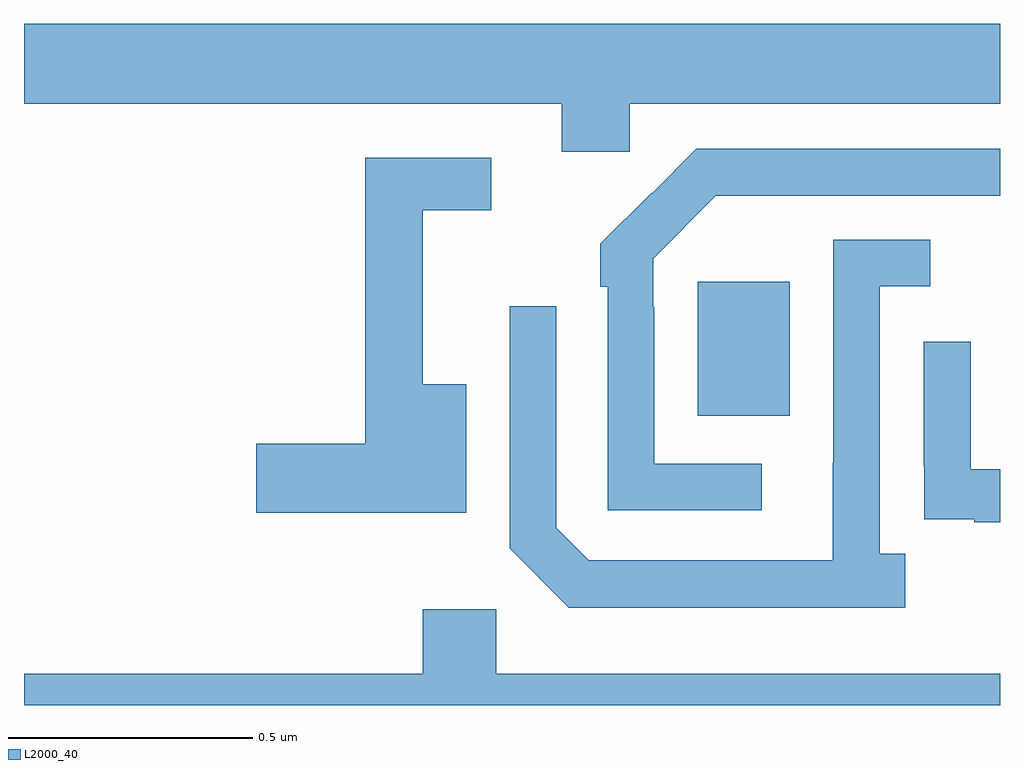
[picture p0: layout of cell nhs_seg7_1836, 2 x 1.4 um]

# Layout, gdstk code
import gdstk
lib = gdstk.Library(unit=1e-6, precision=1e-09)
def R(c, l, rs):  # rectangles x0, y0, x1, y1
    for r in rs: c.add(gdstk.rectangle(r[:2], r[2:], *l))
def P(c, l, *ps):  # polygons
    for p in ps: c.add(gdstk.Polygon(p, *l))
L2000_40 = (2000, 40)

nhs_seg7_1836 = lib.new_cell('nhs_seg7_1836')
R(nhs_seg7_1836, L2000_40, [(137.381,1050.593,137.569,1050.868)])
P(nhs_seg7_1836, L2000_40, [(137.241,1051.232),(138,1051.232),(138,1051.396),(136,1051.396),(136,1051.232),(137.102,1051.232),(137.102,1051.134),(137.241,1051.134)],
  [(137.512,1050.495),(137.292,1050.495),(137.292,1050.815),(137.289,1050.815),(137.289,1050.915),(137.418,1051.044),(138,1051.044),(138,1051.14),(137.378,1051.14),(137.287,1051.049),(137.286,1051.05),(137.181,1050.945),(137.181,1050.857),(137.196,1050.857),(137.196,1050.399),(137.512,1050.399)],
  [(136.906,1050.658),(136.817,1050.658),(136.817,1051.014),(136.957,1051.014),(136.957,1051.122),(136.699,1051.122),(136.699,1050.536),(136.476,1050.536),(136.476,1050.394),(136.906,1050.394)],
  [(137.806,1050.31),(137.754,1050.31),(137.754,1050.858),(137.857,1050.858),(137.857,1050.954),(137.658,1050.954),(137.658,1050.497),(137.657,1050.497),(137.657,1050.297),(137.157,1050.297),(137.091,1050.363),(137.091,1050.817),(136.995,1050.817),(136.995,1050.321),(137.116,1050.2),(137.806,1050.2)],
  [(138,1050.483),(137.94,1050.483),(137.94,1050.745),(137.844,1050.745),(137.844,1050.49),(137.845,1050.49),(137.845,1050.381),(137.947,1050.381),(137.947,1050.375),(138,1050.375)],
  [(138,1050.064),(136.968,1050.064),(136.968,1050.196),(136.817,1050.196),(136.817,1050.064),(136,1050.064),(136,1050),(138,1050)])

lib.write_gds('nhs_seg7_1836.gds')
